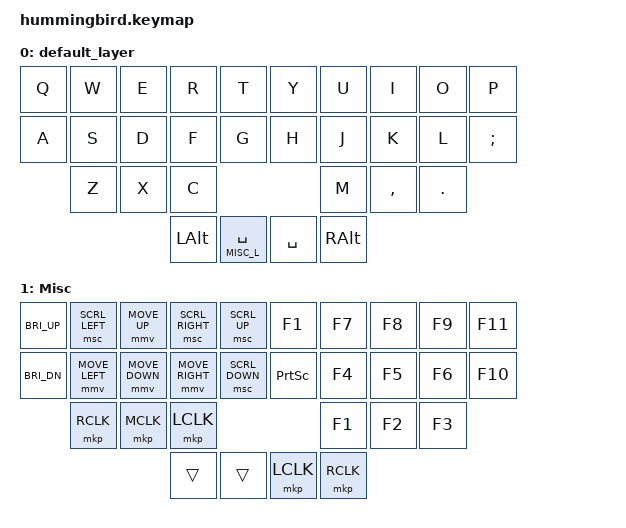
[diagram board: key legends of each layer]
/*
 * Copyright (c) 2022 The ZMK Contributors
 *
 * SPDX-License-Identifier: MIT
 */

#include <behaviors.dtsi>
#include <dt-bindings/zmk/keys.h>
#include <dt-bindings/zmk/pointing.h>

#define DEF_L 0
#define MISC_L 1

// Using layer taps on thumbs, having quick tap as well helps w/ repeating space/backspace
&lt { quick-tap-ms = <200>; };

/ {
    behaviors {
        hm: homerow_mods {
            compatible = "zmk,behavior-hold-tap";
            #binding-cells = <2>;
            tapping-term-ms = <225>;
            flavor = "tap-preferred";
            bindings = <&kp>, <&kp>;
        };
    };

    combos {
        compatible = "zmk,combos";
        combo_backslash {
            timeout-ms = <50>;
            key-positions = <20 21>;
            bindings = <&kp NON_US_BACKSLASH>;
        };
        combo_v {
            timeout-ms = <50>;
            key-positions = <21 22>;
            bindings = <&kp V>;
        };

        combo_n {
            timeout-ms = <50>;
            key-positions = <23 24>;
            bindings = <&kp N>;
        };

        combo_slash {
            timeout-ms = <50>;
            key-positions = <24 25>;
            bindings = <&kp SLASH>;
        };
    };

    keymap {
        compatible = "zmk,keymap";

        default_layer {
            bindings = <
            //  Q          W          E           R               T            Y                U              I           O          P
                &kp Q      &kp W      &kp E       &kp R           &kp T        &kp Y            &kp U          &kp I       &kp O      &kp P
            //  A          S          D           F               G            H                J              K           L          ; (shift :)
                &kp A      &kp S      &kp D       &kp F           &kp G        &kp H            &kp J          &kp K       &kp L      &kp SEMI
            //             Z          X           C                                             M              ,          .
                           &kp Z      &kp X       &kp C                                         &kp M          &kp COMMA  &kp DOT
            //                                    alt       space           space    alg_gr
                                                  &kp LALT  &lt MISC_L SPACE       &kp SPACE  &kp RALT
            >;
        };
        misc_layer {
            display-name = "Misc";
            bindings = <
                &kp C_BRI_UP   &msc SCRL_LEFT &mmv MOVE_UP   &msc SCRL_RIGHT &msc SCRL_UP       &kp F1            &kp F7 &kp F8  &kp F9 &kp F11
                &kp C_BRI_DN   &mmv MOVE_LEFT &mmv MOVE_DOWN &mmv MOVE_RIGHT &msc SCRL_DOWN     &kp PRINTSCREEN   &kp F4 &kp F5  &kp F6 &kp F10
                            &mkp RCLK  &mkp MCLK   &mkp LCLK                                                 &kp F1 &kp F2  &kp F3
                                                      &trans          &trans           &mkp LCLK     &mkp RCLK
            >;
        };

    };
};
